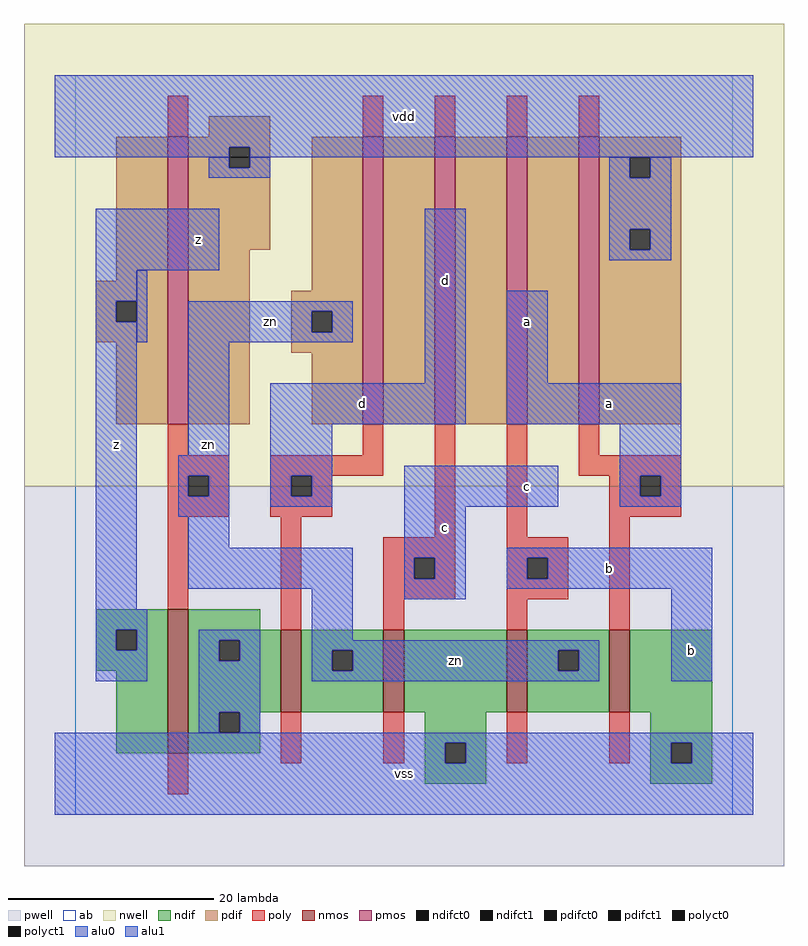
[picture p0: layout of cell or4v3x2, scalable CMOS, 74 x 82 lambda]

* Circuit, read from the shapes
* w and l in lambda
.subckt or4v3x2 a b c d vdd vss z zn
M1 vss zn z VSUBS nfet w=14 l=2
M2 zn d vss VSUBS nfet w=8 l=2
M3 vss c zn VSUBS nfet w=8 l=2
M4 zn b vss VSUBS nfet w=8 l=2
M5 vss a zn VSUBS nfet w=8 l=2
M6 vdd zn z n1 pfet w=28 l=2
M7 n2 d zn n1 pfet w=28 l=2
M8 n3 c n2 n1 pfet w=28 l=2
M9 n4 b n3 n1 pfet w=28 l=2
M10 vdd a n4 n1 pfet w=28 l=2
.ends

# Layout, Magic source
magic
tech scmos
<< ab >>
rect 0 0 64 72
<< nwell >>
rect -5 32 69 77
<< pwell >>
rect -5 -5 69 32
<< poly >>
rect 9 66 11 70
rect 28 66 30 70
rect 35 66 37 70
rect 42 66 44 70
rect 49 66 51 70
rect 9 35 11 38
rect 28 35 30 38
rect 9 33 15 35
rect 9 31 11 33
rect 13 31 15 33
rect 9 29 15 31
rect 19 33 30 35
rect 19 31 21 33
rect 23 31 25 33
rect 19 29 25 31
rect 9 20 11 29
rect 20 18 22 29
rect 35 27 37 38
rect 30 25 37 27
rect 30 23 33 25
rect 35 23 37 25
rect 30 21 37 23
rect 42 27 44 38
rect 49 35 51 38
rect 49 33 59 35
rect 52 31 55 33
rect 57 31 59 33
rect 52 29 59 31
rect 42 25 48 27
rect 42 23 44 25
rect 46 23 48 25
rect 42 21 48 23
rect 30 18 32 21
rect 42 18 44 21
rect 52 18 54 29
rect 9 2 11 6
rect 20 5 22 10
rect 30 5 32 10
rect 42 5 44 10
rect 52 5 54 10
<< ndif >>
rect 2 18 9 20
rect 2 16 4 18
rect 6 16 9 18
rect 2 14 9 16
rect 4 6 9 14
rect 11 18 18 20
rect 11 17 20 18
rect 11 15 14 17
rect 16 15 20 17
rect 11 10 20 15
rect 22 16 30 18
rect 22 14 25 16
rect 27 14 30 16
rect 22 10 30 14
rect 32 10 42 18
rect 44 16 52 18
rect 44 14 47 16
rect 49 14 52 16
rect 44 10 52 14
rect 54 10 62 18
rect 11 8 14 10
rect 16 8 18 10
rect 11 6 18 8
rect 34 7 40 10
rect 34 5 36 7
rect 38 5 40 7
rect 56 7 62 10
rect 56 5 58 7
rect 60 5 62 7
rect 34 3 40 5
rect 56 3 62 5
<< pdif >>
rect 13 66 19 68
rect 4 52 9 66
rect 2 50 9 52
rect 2 48 4 50
rect 6 48 9 50
rect 2 46 9 48
rect 4 38 9 46
rect 11 65 19 66
rect 11 63 15 65
rect 17 63 19 65
rect 11 55 19 63
rect 11 38 17 55
rect 23 51 28 66
rect 21 49 28 51
rect 21 47 23 49
rect 25 47 28 49
rect 21 45 28 47
rect 23 38 28 45
rect 30 38 35 66
rect 37 38 42 66
rect 44 38 49 66
rect 51 64 59 66
rect 51 62 54 64
rect 56 62 59 64
rect 51 57 59 62
rect 51 55 54 57
rect 56 55 59 57
rect 51 38 59 55
<< alu1 >>
rect -2 65 66 72
rect -2 64 15 65
rect 17 64 66 65
rect 2 53 14 59
rect 2 50 6 53
rect 2 48 4 50
rect 2 20 6 48
rect 34 42 38 59
rect 19 38 38 42
rect 42 42 46 51
rect 42 38 59 42
rect 19 33 25 38
rect 19 31 21 33
rect 23 31 25 33
rect 19 30 25 31
rect 32 30 47 34
rect 53 33 59 38
rect 53 31 55 33
rect 57 31 59 33
rect 53 30 59 31
rect 2 18 7 20
rect 2 16 4 18
rect 6 16 7 18
rect 2 13 7 16
rect 32 25 38 30
rect 32 23 33 25
rect 35 23 38 25
rect 32 21 38 23
rect 42 25 62 26
rect 42 23 44 25
rect 46 23 62 25
rect 42 22 62 23
rect 58 13 62 22
rect -2 7 66 8
rect -2 5 36 7
rect 38 5 58 7
rect 60 5 66 7
rect -2 0 66 5
<< nmos >>
rect 9 6 11 20
rect 20 10 22 18
rect 30 10 32 18
rect 42 10 44 18
rect 52 10 54 18
<< pmos >>
rect 9 38 11 66
rect 28 38 30 66
rect 35 38 37 66
rect 42 38 44 66
rect 49 38 51 66
<< polyct0 >>
rect 11 31 13 33
<< polyct1 >>
rect 21 31 23 33
rect 33 23 35 25
rect 55 31 57 33
rect 44 23 46 25
<< ndifct0 >>
rect 14 15 16 17
rect 25 14 27 16
rect 47 14 49 16
rect 14 8 16 10
<< ndifct1 >>
rect 4 16 6 18
rect 36 5 38 7
rect 58 5 60 7
<< pdifct0 >>
rect 15 63 17 64
rect 23 47 25 49
rect 54 62 56 64
rect 54 55 56 57
<< pdifct1 >>
rect 4 48 6 50
rect 15 64 17 65
<< alu0 >>
rect 13 63 15 64
rect 17 63 19 64
rect 13 62 19 63
rect 52 62 54 64
rect 56 62 58 64
rect 6 46 7 53
rect 11 49 27 50
rect 11 47 23 49
rect 25 47 27 49
rect 11 46 27 47
rect 11 35 15 46
rect 52 57 58 62
rect 52 55 54 57
rect 56 55 58 57
rect 52 54 58 55
rect 10 33 15 35
rect 10 31 11 33
rect 13 31 15 33
rect 10 29 15 31
rect 11 26 15 29
rect 11 22 27 26
rect 12 17 18 18
rect 12 15 14 17
rect 16 15 18 17
rect 12 10 18 15
rect 23 17 27 22
rect 23 16 51 17
rect 23 14 25 16
rect 27 14 47 16
rect 49 14 51 16
rect 23 13 51 14
rect 12 8 14 10
rect 16 8 18 10
<< labels >>
rlabel alu0 13 36 13 36 6 zn
rlabel alu0 19 48 19 48 6 zn
rlabel alu0 37 15 37 15 6 zn
rlabel alu1 4 36 4 36 6 z
rlabel alu1 12 56 12 56 6 z
rlabel alu1 28 40 28 40 6 d
rlabel alu1 32 4 32 4 6 vss
rlabel alu1 36 28 36 28 6 c
rlabel alu1 44 32 44 32 6 c
rlabel alu1 36 52 36 52 6 d
rlabel alu1 44 48 44 48 6 a
rlabel alu1 32 68 32 68 6 vdd
rlabel alu1 60 16 60 16 6 b
rlabel alu1 52 24 52 24 6 b
rlabel alu1 52 40 52 40 6 a
<< end >>
